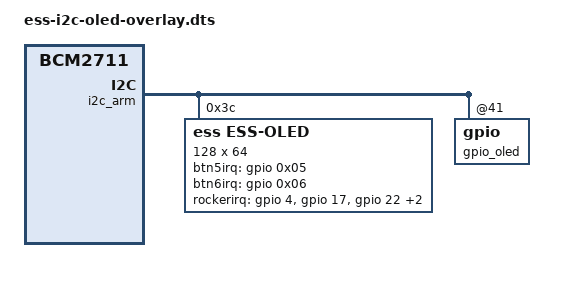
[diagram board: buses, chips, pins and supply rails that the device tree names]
// OLED configuration
/dts-v1/;
/plugin/;

/ {
    compatible = "brcm,bcm2711";

    fragment@0 {
        // i2c1 aliased to i2c_arm
        target = <&i2c_arm>;

        __overlay__ {
            // 1 32-bit cell represents the address
            #address-cells = <1>;
            // size-cells is 0 for non memory mapped devices
            #size-cells = <0>;
            status = "okay";

            ess-oled@3c {
                compatible = "ess,ess-oled";
                status = "okay";
                // TODO don't need this unless a child node of ess-oled@3c is to be created
                #address-cells = <1>;
                // TODO don't need this unless a child node of ess-oled@3c is to be created
                #size-cells = <0>;
                reg = <0x3c>;
                height = <64>;
                width = <128>;
                page-offset = <0>;
                prechargep2 = <15>;

                // btn5irq_gpios = < &gpio 0x05 GPIO_ACTIVE_LOW >;
                btn5irq-gpios = < &gpio 0x05 0x00 >;
                btn6irq-gpios = < &gpio 0x06 0x00 >;
                rockerirq-gpios = < &gpio 4 0x00 >, < &gpio 17 0x00 >, < &gpio 22 0x00 >, < &gpio 23 0x00 >, < &gpio 27 0x00 >;

                // SSD1306 RST pin is driven by rpi bus vcc during board power-up
                // SDD1305 VBAT/VDD/VCC/VLSS, and BS1/I2C_SDA (i2c selection) pins are driven by rpi bus vcc during board power-up
                test_ref = <&test_label>;
                test_label: test_subnode {
                    dummy;
                };
            };

            gpio_oled: gpio@41 {
                //compatible = "nxp,pca9536";
                //gpio-controller;
                //#gpio-cells = <2>;
                //reg = <0x41>;
                //vcc-supply = <&sw2_reg>;
                //status = "disabled";
            };

            // TODO gpio driver for rpi bcm instead of nxp ...
            //gpio_oled: gpio@41 {
            //    compatible = "nxp,pca9536";
            //    gpio-controller;
            //    #gpio-cells = <2>;
            //    reg = <0x41>;
            //    vcc-supply = <&sw2_reg>;
            //    status = "disabled";
            //};
        };
    };

};
